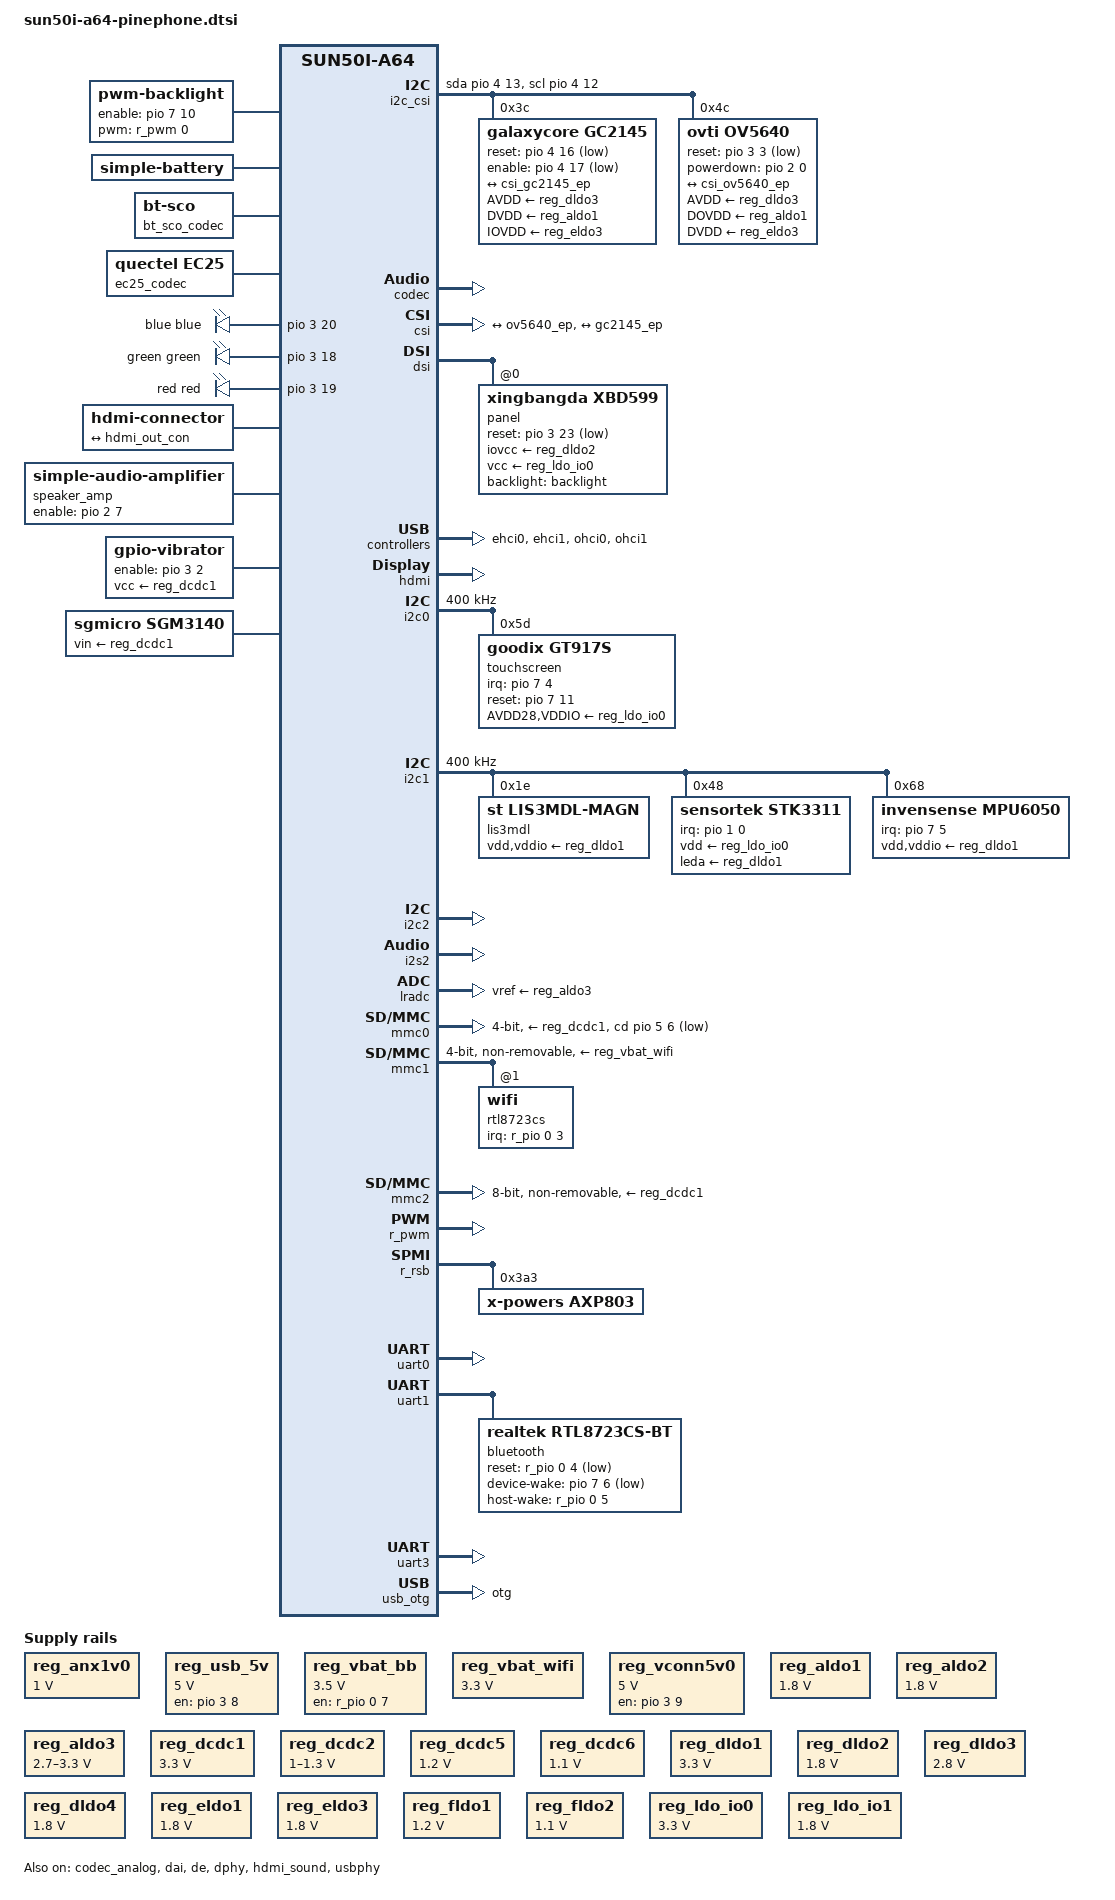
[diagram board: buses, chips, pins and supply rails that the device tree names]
// SPDX-License-Identifier: (GPL-2.0+ OR MIT)
// Copyright (C) 2019 Icenowy Zheng <icenowy@aosc.xyz>
// Copyright (C) 2020 Martijn Braam <martijn@brixit.nl>
// Copyright (C) 2020 Ondrej Jirman <megous@megous.com>

#include "sun50i-a64.dtsi"
#include "sun50i-a64-cpu-opp.dtsi"

#include <dt-bindings/gpio/gpio.h>
#include <dt-bindings/input/input.h>
#include <dt-bindings/leds/common.h>
#include <dt-bindings/pwm/pwm.h>
#include <dt-bindings/usb/pd.h>

/ {
	aliases {
		serial0 = &uart0;
		ethernet0 = &rtl8723cs;
	};

	backlight: backlight {
		compatible = "pwm-backlight";
		pwms = <&r_pwm 0 50000 PWM_POLARITY_INVERTED>;
		enable-gpios = <&pio 7 10 GPIO_ACTIVE_HIGH>; /* PH10 */
		/* Backlight configuration differs per PinePhone revision. */
	};

        bat: battery {
                compatible = "simple-battery";
                voltage-min-design-microvolt = <3000000>;
                voltage-max-design-microvolt = <4350000>;
                energy-full-design-microwatt-hours = <12000000>;
                charge-full-design-microamp-hours = <2750000>;
                precharge-current-microamp = <130000>;
                charge-term-current-microamp = <50000>;
                constant-charge-current-max-microamp = <1300000>;
                constant-charge-voltage-max-microvolt = <4350000>;
                factory-internal-resistance-micro-ohms = <150000>;
                resistance-temp-table = <20 150>;
                ocv-capacity-celsius = <20>;
                ocv-capacity-table-0 =
                	<4334000 100>,
			<4319700 99>,
			<4304300 98>,
			<4292200 97>,
			<4280100 96>,
			<4269100 95>,
			<4253700 94>,
			<4242700 93>,
			<4232800 92>,
			<4222900 91>,
			<4211900 90>,
			<4203100 89>,
			<4192100 88>,
			<4177800 87>,
			<4167900 86>,
			<4155800 85>,
			<4147000 84>,
			<4136000 83>,
			<4126100 82>,
			<4111800 81>,
			<4102999 80>,
			<4093100 79>,
			<4084300 78>,
			<4075500 77>,
			<4064500 76>,
			<4054600 75>,
			<4042500 74>,
			<4035900 73>,
			<4029300 72>,
			<4018300 71>,
			<4006200 70>,
			<3993000 69>,
			<3974300 68>,
			<3964400 67>,
			<3956700 66>,
			<3949000 65>,
			<3943500 64>,
			<3938000 63>,
			<3931400 62>,
			<3923700 61>,
			<3917100 60>,
			<3903900 59>,
			<3895100 58>,
			<3887400 57>,
			<3878600 56>,
			<3870900 55>,
			<3863200 54>,
			<3855500 53>,
			<3848900 52>,
			<3837900 51>,
			<3830200 50>,
			<3825800 49>,
			<3821400 48>,
			<3815900 47>,
			<3810400 46>,
			<3806000 45>,
			<3801600 44>,
			<3797200 43>,
			<3792800 42>,
			<3789500 41>,
			<3786200 40>,
			<3781800 39>,
			<3778500 38>,
			<3775200 37>,
			<3770800 36>,
			<3764200 35>,
			<3760900 34>,
			<3758700 33>,
			<3755400 32>,
			<3754300 31>,
			<3752100 30>,
			<3748800 29>,
			<3749900 28>,
			<3745500 27>,
			<3742200 26>,
			<3741100 25>,
			<3737800 24>,
			<3734500 23>,
			<3731200 22>,
			<3730100 21>,
			<3724600 20>,
			<3722400 19>,
			<3718000 18>,
			<3713600 17>,
			<3708100 16>,
			<3701500 15>,
			<3689400 14>,
			<3682800 13>,
			<3674000 12>,
			<3666300 11>,
			<3659700 10>,
			<3653100 9>,
			<3647600 8>,
			<3641000 7>,
			<3625600 6>,
			<3613500 5>,
			<3591500 4>,
			<3554100 3>,
			<3489200 2>,
			<3393500 1>,
			<3256000 0>;
                x-powers,ocv-capacity-table =
                	<0xc0 0>,
			<0xc1 1>,
			<0xc2 1>,
			<0xc3 2>,
			<0xc4 2>,
			<0xc5 4>,
			<0xc6 4>,
			<0xc7 5>,
			<0xc8 6>,
			<0xc9 8>,
			<0xca 11>,
			<0xcb 15>,
			<0xcc 22>,
			<0xcd 36>,
			<0xce 44>,
			<0xcf 48>,
			<0xd0 51>,
			<0xd1 53>,
			<0xd2 56>,
			<0xd3 60>,
			<0xd4 64>,
			<0xd5 69>,
			<0xd6 71>,
			<0xd7 75>,
			<0xd8 78>,
			<0xd9 82>,
			<0xda 84>,
			<0xdb 85>,
			<0xdc 88>,
			<0xdd 92>,
			<0xde 95>,
			<0xdf 98>;
        };

	bt_sco_codec: bt-sco-codec {
		#sound-dai-cells = <1>;
		compatible = "linux,bt-sco";
	};

	chosen {
		stdout-path = "serial0:115200n8";
	};

	ec25_codec: ec25-codec {
		#sound-dai-cells = <1>;
		compatible = "quectel,ec25";
	};

	i2c_csi: i2c-csi {
		compatible = "i2c-gpio";
		sda-gpios = <&pio 4 13 (GPIO_ACTIVE_HIGH | GPIO_OPEN_DRAIN)>; /* PE13 */
		scl-gpios = <&pio 4 12 (GPIO_ACTIVE_HIGH | GPIO_OPEN_DRAIN)>; /* PE12 */
		i2c-gpio,delay-us = <3>;
		#address-cells = <1>;
		#size-cells = <0>;
	};

	leds {
		compatible = "gpio-leds";

		blue {
			function = LED_FUNCTION_INDICATOR;
			color = <LED_COLOR_ID_BLUE>;
			gpios = <&pio 3 20 GPIO_ACTIVE_HIGH>; /* PD20 */
			retain-state-suspended;
		};

		green {
			function = LED_FUNCTION_INDICATOR;
			color = <LED_COLOR_ID_GREEN>;
			gpios = <&pio 3 18 GPIO_ACTIVE_HIGH>; /* PD18 */
			retain-state-suspended;
		};

		red {
			function = LED_FUNCTION_INDICATOR;
			color = <LED_COLOR_ID_RED>;
			gpios = <&pio 3 19 GPIO_ACTIVE_HIGH>; /* PD19 */
			retain-state-suspended;
		};
	};

	hdmi-connector {
		compatible = "hdmi-connector";
		type = "a";

		port {
			hdmi_con_in: endpoint {
				remote-endpoint = <&hdmi_out_con>;
			};
		};
	};

	reg_anx1v0: anx1v0 {
		compatible = "regulator-fixed";
		regulator-name = "anx1v0";
		regulator-min-microvolt = <1000000>;
		regulator-max-microvolt = <1000000>;
	};

	reg_usb_5v: usb-5v {
		compatible = "regulator-fixed";
		regulator-name = "usb-5v";
		regulator-min-microvolt = <5000000>;
		regulator-max-microvolt = <5000000>;
		gpio = <&pio 3 8 GPIO_ACTIVE_HIGH>; /* PD8 */
		enable-active-high;
	};

	reg_vbat_bb: vbat-bb {
		compatible = "regulator-fixed";
		regulator-name = "vbat-bb";
		regulator-min-microvolt = <3500000>;
		regulator-max-microvolt = <3500000>;
		gpio = <&r_pio 0 7 GPIO_ACTIVE_HIGH>; /* PL7 */
		enable-active-high;
	};

	reg_vbat_wifi: vbat-wifi {
		compatible = "regulator-fixed";
		regulator-min-microvolt = <3300000>;
		regulator-max-microvolt = <3300000>;
		regulator-name = "vbat-wifi";
	};

	/* This is a charge pump for CC1 and CC2 pins on USB-C connector. */
	reg_vconn5v0: vconn5v0 {
		compatible = "regulator-fixed";
		regulator-name = "vconn5v0";
		regulator-min-microvolt = <5000000>;
		regulator-max-microvolt = <5000000>;
		gpio = <&pio 3 9 GPIO_ACTIVE_HIGH>; /* PD9 */
		enable-active-high;
	};

	speaker_amp: audio-amplifier {
		compatible = "simple-audio-amplifier";
		enable-gpios = <&pio 2 7 GPIO_ACTIVE_HIGH>; /* PC7 */
		sound-name-prefix = "Speaker Amp";
	};

	vibrator {
		compatible = "gpio-vibrator";
		enable-gpios = <&pio 3 2 GPIO_ACTIVE_HIGH>; /* PD2 */
		vcc-supply = <&reg_dcdc1>;
	};

	sgm3140: led-controller {
		compatible = "sgmicro,sgm3140";
		vin-supply = <&reg_dcdc1>;

		sgm3140_flash: led {
			function = LED_FUNCTION_FLASH;
			color = <LED_COLOR_ID_WHITE>;
			flash-max-timeout-us = <250000>;
		};
	};
};

&codec {
	pinctrl-names = "default";
	pinctrl-0 = <&aif2_pins>, <&aif3_pins>;
	status = "okay";
};

&codec_analog {
	cpvdd-supply = <&reg_eldo1>;
	status = "okay";
};

&cpu0 {
	cpu-supply = <&reg_dcdc2>;
};

&cpu1 {
	cpu-supply = <&reg_dcdc2>;
};

&cpu2 {
	cpu-supply = <&reg_dcdc2>;
};

&cpu3 {
	cpu-supply = <&reg_dcdc2>;
};

&csi {
	pinctrl-0 = <&csi_pins>, <&csi_mclk_pin>;
	status = "okay";

	port {
		#address-cells = <1>;
		#size-cells = <0>;

		csi_ov5640_ep: endpoint@0 {
			reg = <0>;
			remote-endpoint = <&ov5640_ep>;
			bus-width = <8>;
			hsync-active = <1>; /* Active high */
			vsync-active = <0>; /* Active low */
			data-active = <1>;  /* Active high */
			pclk-sample = <1>;  /* Rising */
		};

		csi_gc2145_ep: endpoint@1 {
			reg = <1>;
			remote-endpoint = <&gc2145_ep>;
			bus-width = <8>;
			hsync-active = <1>;
			vsync-active = <1>;
			data-active = <1>;
			pclk-sample = <1>;
		};
	};
};

&dai {
	status = "okay";
};

&de {
	status = "okay";
};

&dphy {
	status = "okay";
};

&dsi {
	vcc-dsi-supply = <&reg_dldo1>;
	status = "okay";

	panel@0 {
		compatible = "xingbangda,xbd599";
		reg = <0>;
		reset-gpios = <&pio 3 23 GPIO_ACTIVE_LOW>; /* PD23 */
		iovcc-supply = <&reg_dldo2>;
		vcc-supply = <&reg_ldo_io0>;
		backlight = <&backlight>;
	};
};

&ehci0 {
	status = "okay";
};

&ehci1 {
	status = "okay";
};

&hdmi {
	hvcc-supply = <&reg_dldo1>;
	status = "okay";
};

&hdmi_out {
	hdmi_out_con: endpoint {
		remote-endpoint = <&hdmi_con_in>;
	};
};

&hdmi_sound {
	status = "okay";
};

&i2c_csi {
	gc2145: front-camera@3c {
		compatible = "galaxycore,gc2145";
		reg = <0x3c>;
		clocks = <&ccu CLK_CSI_MCLK>;
		clock-names = "xclk";

		AVDD-supply = <&reg_dldo3>;
		DVDD-supply = <&reg_aldo1>;
		IOVDD-supply = <&reg_eldo3>;
		reset-gpios = <&pio 4 16 (GPIO_ACTIVE_LOW | GPIO_OPEN_DRAIN)>; /* PE16 */
		enable-gpios = <&pio 4 17 (GPIO_ACTIVE_LOW | GPIO_OPEN_DRAIN)>; /* PE17 */

		port {
			gc2145_ep: endpoint {
				remote-endpoint = <&csi_gc2145_ep>;
				bus-width = <8>;
				hsync-active = <1>;
				vsync-active = <1>;
				data-active = <1>;
				pclk-sample = <1>;
			};
		};
	};

	ov5640: rear-camera@4c {
		compatible = "ovti,ov5640";
		reg = <0x4c>;
		clocks = <&ccu CLK_CSI_MCLK>;
		clock-names = "xclk";

		AVDD-supply = <&reg_dldo3>;
		DOVDD-supply = <&reg_aldo1>; /* shared with AFVCC */
		DVDD-supply = <&reg_eldo3>;
		reset-gpios = <&pio 3 3 (GPIO_ACTIVE_LOW | GPIO_OPEN_DRAIN)>; /* PD3 */
		powerdown-gpios = <&pio 2 0 (GPIO_ACTIVE_HIGH | GPIO_OPEN_DRAIN)>; /* PC0 */

		port {
			ov5640_ep: endpoint {
				remote-endpoint = <&csi_ov5640_ep>;
				bus-width = <8>;
				hsync-active = <1>; /* Active high */
				vsync-active = <0>; /* Active low */
				data-active = <1>;  /* Active high */
				pclk-sample = <1>;  /* Rising */
			};
		};
	};
};

&i2c0 {
	status = "okay";
	clock-frequency = <400000>;

	touchscreen@5d {
		compatible = "goodix,gt917s";
		reg = <0x5d>;
		interrupt-parent = <&pio>;
		interrupts = <7 4 IRQ_TYPE_LEVEL_HIGH>; /* PH4 */
		irq-gpios = <&pio 7 4 GPIO_ACTIVE_HIGH>; /* PH4 */
		reset-gpios = <&pio 7 11 GPIO_ACTIVE_HIGH>; /* PH11 */
		AVDD28-supply = <&reg_ldo_io0>;
		VDDIO-supply = <&reg_ldo_io0>;
		touchscreen-size-x = <720>;
		touchscreen-size-y = <1440>;
	};
};

&i2c1 {
	status = "okay";
	clock-frequency = <400000>;

	/* Magnetometer */
	lis3mdl: lis3mdl@1e {
		compatible = "st,lis3mdl-magn";
		reg = <0x1e>;
		vdd-supply = <&reg_dldo1>;
		vddio-supply = <&reg_dldo1>;
	};

	/* Light/proximity sensor */
	stk3311@48 {
		compatible = "sensortek,stk3311";
		reg = <0x48>;
		interrupt-parent = <&pio>;
		interrupts = <1 0 IRQ_TYPE_EDGE_FALLING>; /* PB0 */
		vdd-supply = <&reg_ldo_io0>;
		leda-supply = <&reg_dldo1>;
	};

	/* Accelerometer/gyroscope */
	mpu6050@68 {
		compatible = "invensense,mpu6050";
		reg = <0x68>;
		interrupt-parent = <&pio>;
		interrupts = <7 5 IRQ_TYPE_EDGE_RISING>; /* PH5 */
		vdd-supply = <&reg_dldo1>;
		vddio-supply = <&reg_dldo1>;
		mount-matrix = "0", "1", "0",
				"-1", "0", "0",
				"0", "0", "-1";
	};
};

/* Connected to pogo pins (external spring based pinheader for user addons) */
&i2c2 {
	status = "okay";
};

&i2s2 {
	status = "okay";
};

&lradc {
	vref-supply = <&reg_aldo3>;
	status = "okay";

	button-200 {
		label = "Volume Up";
		linux,code = <KEY_VOLUMEUP>;
		channel = <0>;
		voltage = <200000>;
	};

	button-400 {
		label = "Volume Down";
		linux,code = <KEY_VOLUMEDOWN>;
		channel = <0>;
		voltage = <400000>;
	};
};

&mmc0 {
	pinctrl-names = "default";
	pinctrl-0 = <&mmc0_pins>;
	vmmc-supply = <&reg_dcdc1>;
	vqmmc-supply = <&reg_dcdc1>;
	cd-gpios = <&pio 5 6 GPIO_ACTIVE_LOW>; /* PF6 */
	disable-wp;
	bus-width = <4>;
	post-power-on-delay-ms = <1>; /* power is already turned on by the bootloader */
	status = "okay";
};

&mmc1 {
	pinctrl-names = "default";
	pinctrl-0 = <&mmc1_pins>;
	vmmc-supply = <&reg_vbat_wifi>;
	vqmmc-supply = <&reg_dldo4>;
	bus-width = <4>;
	non-removable;
	post-power-on-delay-ms = <1>; /* wifi power is always on */
	status = "okay";

	rtl8723cs: wifi@1 {
		reg = <1>;
//		host-wake-gpios = <&r_pio 0 3 GPIO_ACTIVE_HIGH>; /* PL3 */
		interrupt-parent = <&r_pio>;
		interrupts = <0 3 IRQ_TYPE_EDGE_FALLING>; /* PL3 */
	};
};

&mmc2 {
	pinctrl-names = "default";
	pinctrl-0 = <&mmc2_pins>;
	vmmc-supply = <&reg_dcdc1>;
	vqmmc-supply = <&reg_dcdc1>;
	bus-width = <8>;
	non-removable;
	cap-mmc-hw-reset;
	post-power-on-delay-ms = <1>; /* power is already turned on by the bootloader */
	status = "okay";
};

&ohci0 {
	status = "okay";
};

&ohci1 {
	status = "okay";
};

&pio {
	vcc-pb-supply = <&reg_dcdc1>;
	vcc-pc-supply = <&reg_dcdc1>;
	vcc-pd-supply = <&reg_dcdc1>;
	/* pinctrl would enable this even if no camera is powered,
	 * which is wrong/not necessary
	 *
	 * vcc-pe-supply = <&reg_aldo1>; (also used by pogo pins i2c)
	 */
	vcc-pf-supply = <&reg_dcdc1>;
	vcc-pg-supply = <&reg_dldo4>;
	vcc-ph-supply = <&reg_dcdc1>;
};

&r_pio {
	/*
	 * FIXME: We can't add that supply for now since it would
	 * create a circular dependency between pinctrl, the regulator
	 * and the RSB Bus.
	 *
	 * vcc-pl-supply = <&reg_aldo2>;
	 */
};

&r_pwm {
	status = "okay";
};

&r_rsb {
	status = "okay";

	axp803: pmic@3a3 {
		compatible = "x-powers,axp803";
		reg = <0x3a3>;
		interrupt-parent = <&r_intc>;
		interrupts = <0 IRQ_TYPE_LEVEL_LOW>;
	};
};

#include "axp803.dtsi"

&battery_power_supply {
	status = "okay";
	monitored-battery = <&bat>;
};

&reg_aldo1 {
	regulator-min-microvolt = <1800000>;
	regulator-max-microvolt = <1800000>;
	regulator-name = "dovdd-csi";
};

&reg_aldo2 {
	regulator-always-on;
	regulator-min-microvolt = <1800000>;
	regulator-max-microvolt = <1800000>;
	regulator-name = "vcc-pl";
};

&reg_aldo3 {
	regulator-always-on;
	regulator-min-microvolt = <2700000>;
	regulator-max-microvolt = <3300000>;
	regulator-name = "vcc-pll-avcc";
};

&reg_dcdc1 {
	regulator-always-on;
	regulator-min-microvolt = <3300000>;
	regulator-max-microvolt = <3300000>;
	regulator-name = "vcc-3v3";
};

&reg_dcdc2 {
	regulator-always-on;
	regulator-min-microvolt = <1000000>;
	regulator-max-microvolt = <1300000>;
	regulator-name = "vdd-cpux";
};

/* DCDC3 is polyphased with DCDC2 */

&reg_dcdc5 {
	regulator-always-on;
	regulator-min-microvolt = <1200000>;
	regulator-max-microvolt = <1200000>;
	regulator-name = "vcc-dram";
};

&reg_dcdc6 {
	regulator-always-on;
	regulator-min-microvolt = <1100000>;
	regulator-max-microvolt = <1100000>;
	regulator-name = "vdd-sys";
};

&reg_dldo1 {
	regulator-min-microvolt = <3300000>;
	regulator-max-microvolt = <3300000>;
	regulator-name = "vcc-dsi-sensor";
};

&reg_dldo2 {
	regulator-min-microvolt = <1800000>;
	regulator-max-microvolt = <1800000>;
	regulator-name = "vcc-mipi-io";
};

&reg_dldo3 {
	regulator-min-microvolt = <2800000>;
	regulator-max-microvolt = <2800000>;
	regulator-name = "avdd-csi";
};

&reg_dldo4 {
	regulator-min-microvolt = <1800000>;
	regulator-max-microvolt = <1800000>;
	regulator-name = "vcc-wifi-io";
};

&reg_eldo1 {
	regulator-always-on;
	regulator-min-microvolt = <1800000>;
	regulator-max-microvolt = <1800000>;
	regulator-name = "vcc-lpddr";
};

&reg_eldo3 {
	regulator-min-microvolt = <1800000>;
	regulator-max-microvolt = <1800000>;
	regulator-name = "dvdd-1v8-csi";
};

&reg_fldo1 {
	regulator-min-microvolt = <1200000>;
	regulator-max-microvolt = <1200000>;
	regulator-name = "vcc-1v2-hsic";
};

&reg_fldo2 {
	regulator-always-on;
	regulator-min-microvolt = <1100000>;
	regulator-max-microvolt = <1100000>;
	regulator-name = "vdd-cpus";
};

&reg_ldo_io0 {
	regulator-min-microvolt = <3300000>;
	regulator-max-microvolt = <3300000>;
	regulator-name = "vcc-lcd-ctp-stk";
	status = "okay";
};

&reg_ldo_io1 {
	regulator-min-microvolt = <1800000>;
	regulator-max-microvolt = <1800000>;
	regulator-name = "vcc-1v8-typec";
	status = "okay";
};

&reg_rtc_ldo {
	regulator-name = "vcc-rtc";
};

&sound {
	status = "okay";
	simple-audio-card,name = "PinePhone";
	simple-audio-card,aux-devs = <&codec_analog>, <&speaker_amp>;
	simple-audio-card,widgets = "Microphone", "Headset Microphone",
				    "Microphone", "Internal Microphone",
				    "Headphone", "Headphone Jack",
				    "Speaker", "Internal Earpiece",
				    "Speaker", "Internal Speaker";
	simple-audio-card,routing =
			"Headphone Jack", "HP",
			"Internal Earpiece", "EARPIECE",
			"Internal Speaker", "Speaker Amp OUTL",
			"Internal Speaker", "Speaker Amp OUTR",
			"Speaker Amp INL", "LINEOUT",
			"Speaker Amp INR", "LINEOUT",
			"Left DAC", "DACL",
			"Right DAC", "DACR",
			"ADCL", "Left ADC",
			"ADCR", "Right ADC",
			"Internal Microphone", "MBIAS",
			"MIC1", "Internal Microphone",
			"Headset Microphone", "HBIAS",
			"MIC2", "Headset Microphone";

	simple-audio-card,dai-link@1 {
		format = "dsp_a";
		frame-master = <&link1_codec>;
		bitclock-master = <&link1_codec>;
		bitclock-inversion;

		link1_cpu: cpu {
			sound-dai = <&ec25_codec 0>;
		};

		link1_codec: codec {
			sound-dai = <&codec 1>;
			dai-tdm-slot-num = <1>;
			dai-tdm-slot-width = <32>;
		};
	};

	simple-audio-card,dai-link@2 {
		format = "dsp_a";
		frame-master = <&link2_codec>;
		bitclock-master = <&link2_codec>;
		bitclock-inversion;

		link2_cpu: cpu {
			sound-dai = <&bt_sco_codec 0>;
		};

		link2_codec: codec {
			sound-dai = <&codec 2>;
			dai-tdm-slot-num = <2>;
			dai-tdm-slot-width = <16>;
		};
	};
};

&uart0 {
	pinctrl-names = "default";
	pinctrl-0 = <&uart0_pb_pins>;
	status = "okay";
};

&uart1 {
	pinctrl-names = "default";
	pinctrl-0 = <&uart1_pins>, <&uart1_rts_cts_pins>;
	status = "okay";

	bluetooth {
		compatible = "realtek,rtl8723cs-bt";
		reset-gpios = <&r_pio 0 4 GPIO_ACTIVE_LOW>; /* PL4 */
		device-wake-gpios = <&pio 7 6 GPIO_ACTIVE_LOW>; /* PH6 */
		host-wake-gpios = <&r_pio 0 5 GPIO_ACTIVE_HIGH>; /* PL5 */
		firmware-postfix = "pinephone";
	};
};

/* Connected to the modem (hardware flow control can't be used) */
&uart3 {
	pinctrl-names = "default";
	pinctrl-0 = <&uart3_pins>;
	status = "okay";
};

&usb_otg {
	dr_mode = "otg";
	status = "okay";
};

&usb_power_supply {
	status = "okay";
};

&usbphy {
	status = "okay";
};
